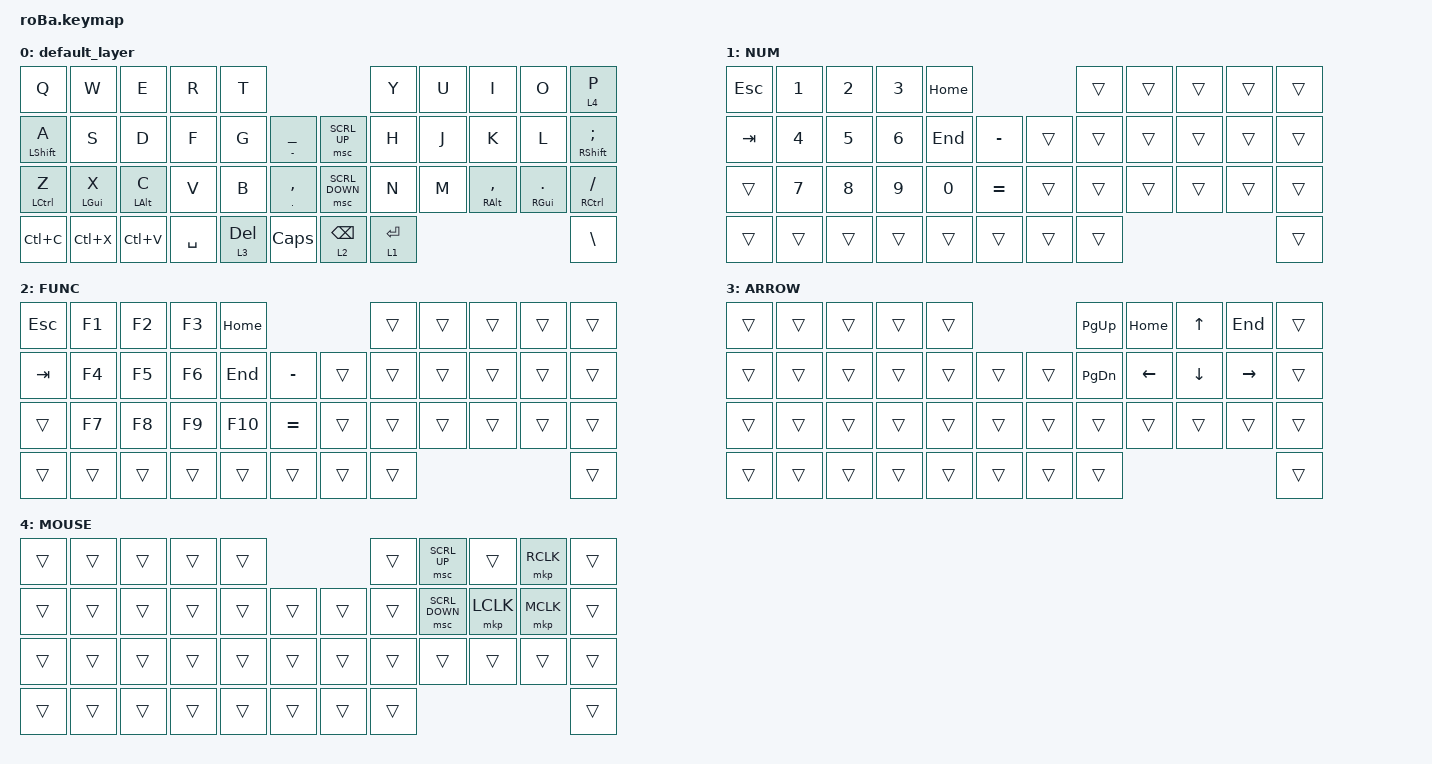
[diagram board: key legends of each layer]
#include <behaviors.dtsi>
#include <dt-bindings/zmk/keys.h>
#include <dt-bindings/zmk/pointing.h>

&mt {
    flavor = "balanced";
    quick-tap-ms = <0>;
};

&trackball {
    automouse-layer = <4>;
    scroll-layers = <5>;

    // arrows {
    //     layers = <3>;
    //     bindings =
    //         <&kp RIGHT_ARROW>,
    //         <&kp LEFT_ARROW>,
    //         <&kp UP_ARROW>,
    //         <&kp DOWN_ARROW>;
    //     tick = <10>;
    //     wait-ms = <5>;
    //     tap-ms = <5>;
    // };
};

/ {
    combos {
        compatible = "zmk,combos";

        tab {
            bindings = <&kp TAB>;
            key-positions = <11 10>;
        };

        Ins {
            bindings = <&kp INS>;
            key-positions = <20 21>;
        };

        Esc {
            bindings = <&kp ESC>;
            key-positions = <0 1>;
        };

        Del {
            bindings = <&kp DEL>;
            key-positions = <8 9>;
        };

        Caps {
            bindings = <&kp CAPS>;
            key-positions = <22 23>;
        };
    };

    keymap {
        compatible = "zmk,keymap";

        default_layer {
            bindings = <
&kp Q             &kp W           &kp E           &kp R      &kp T                                                &kp Y        &kp U  &kp I                &kp O              &lt 4 P
&mt LEFT_SHIFT A  &kp S           &kp D           &kp F      &kp G         &mt MINUS UNDER       &msc SCRL_UP     &kp H        &kp J  &kp K                &kp L              &mt RIGHT_SHIFT SEMI
&mt LCTRL Z       &mt LEFT_GUI X  &mt LEFT_ALT C  &kp V      &kp B         &mt PERIOD COMMA      &msc SCRL_DOWN   &kp N        &kp M  &mt RIGHT_ALT COMMA  &mt RIGHT_GUI DOT  &mt RCTRL SLASH
&kp LC(C)         &kp LC(X)       &kp LC(V)       &kp SPACE  &lt 3 DELETE  &kp CAPS              &lt 2 BACKSPACE  &lt 1 ENTER                                                 &kp BACKSLASH
            >;
        };

        NUM {
            bindings = <
&kp ESC  &kp NUMBER_1  &kp NUMBER_2  &kp NUMBER_3  &kp HOME                             &trans  &trans  &trans  &trans  &trans
&kp TAB  &kp NUMBER_4  &kp NUMBER_5  &kp NUMBER_6  &kp END       &kp MINUS      &trans  &trans  &trans  &trans  &trans  &trans
&trans   &kp NUMBER_7  &kp NUMBER_8  &kp NUMBER_9  &kp NUMBER_0  &kp EQUAL      &trans  &trans  &trans  &trans  &trans  &trans
&trans   &trans        &trans        &trans        &trans        &trans         &trans  &trans                          &trans
            >;
        };

        FUNC {
            bindings = <
&kp ESCAPE  &kp F1  &kp F2  &kp F3  &kp HOME                         &trans  &trans  &trans  &trans  &trans
&kp TAB     &kp F4  &kp F5  &kp F6  &kp END   &kp MINUS      &trans  &trans  &trans  &trans  &trans  &trans
&trans      &kp F7  &kp F8  &kp F9  &kp F10   &kp EQUAL      &trans  &trans  &trans  &trans  &trans  &trans
&trans      &trans  &trans  &trans  &trans    &trans         &trans  &trans                          &trans
            >;
        };

        ARROW {
            bindings = <
&trans  &trans  &trans  &trans  &trans                      &kp PAGE_UP    &kp HOME        &kp UP_ARROW    &kp END          &trans
&trans  &trans  &trans  &trans  &trans  &trans      &trans  &kp PAGE_DOWN  &kp LEFT_ARROW  &kp DOWN_ARROW  &kp RIGHT_ARROW  &trans
&trans  &trans  &trans  &trans  &trans  &trans      &trans  &trans         &trans          &trans          &trans           &trans
&trans  &trans  &trans  &trans  &trans  &trans      &trans  &trans                                                          &trans
            >;
        };

        MOUSE {
            bindings = <
&trans  &trans  &trans  &trans  &trans                      &trans  &msc SCRL_UP    &trans     &mkp RCLK  &trans
&trans  &trans  &trans  &trans  &trans  &trans      &trans  &trans  &msc SCRL_DOWN  &mkp LCLK  &mkp MCLK  &trans
&trans  &trans  &trans  &trans  &trans  &trans      &trans  &trans  &trans          &trans     &trans     &trans
&trans  &trans  &trans  &trans  &trans  &trans      &trans  &trans                                        &trans
            >;
        };
    };
};
